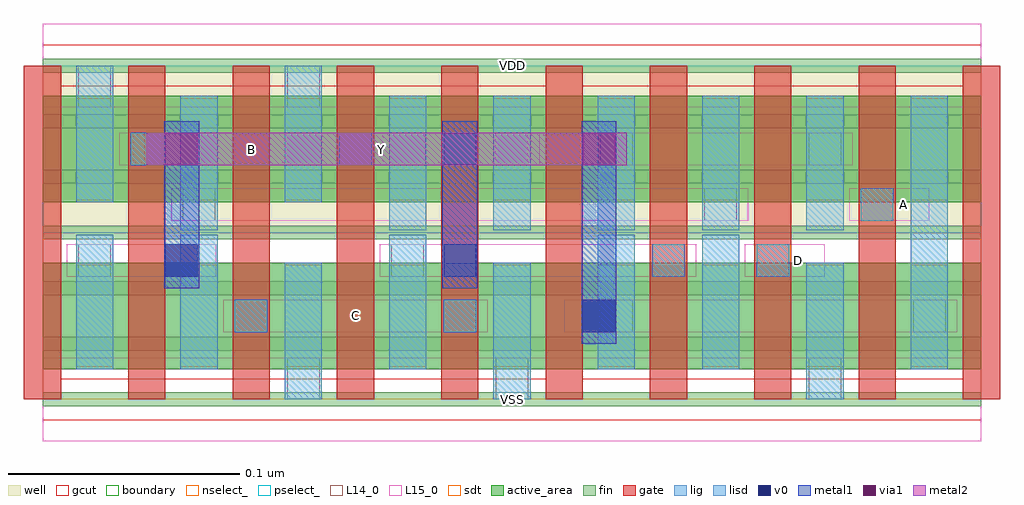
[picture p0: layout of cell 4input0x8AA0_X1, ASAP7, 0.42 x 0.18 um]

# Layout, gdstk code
import gdstk
lib = gdstk.Library(unit=1e-6, precision=2.5e-10)
def R(c, l, rs):  # rectangles x0, y0, x1, y1
    for r in rs: c.add(gdstk.rectangle(r[:2], r[2:], *l))
def A(c, l, x, y, w, h, nx, ny, dx, dy):  # array of equal rectangles
    R(c, l, [(x+i*dx, y+j*dy, x+i*dx+w, y+j*dy+h) for i in range(nx) for j in range(ny)])
def P(c, l, *ps):  # polygons
    for p in ps: c.add(gdstk.Polygon(p, *l))
well = (1, 0)
fin = (2, 0)
gate = (7, 0)
gcut = (10, 0)
active_area = (11, 0)
nselect_ = (12, 0)
pselect_ = (13, 0)
L14_0 = (14, 0)
L15_0 = (15, 0)
lig = (16, 0)
lisd = (17, 0)
v0 = (18, 0)
metal1 = (19, 0)
metal2 = (20, 0)
via1 = (21, 0)
sdt = (88, 0)
boundary = (100, 0)

c_4input0x8aa0_x1 = lib.new_cell('4input0x8AA0_X1')
R(c_4input0x8aa0_x1, well, [(0,0.072,0.405,0.144)])
A(c_4input0x8aa0_x1, fin, 0, -0.003, 0.405, 0.006, 1, 7, 0, 0.024)
A(c_4input0x8aa0_x1, gate, -0.008, 0, 0.016, 0.144, 10, 1, 0.045, 0)
P(c_4input0x8aa0_x1, gcut, [(0,-0.009),(0,0),(-0.008,0),(-0.008,0.135),(0.008,0.135),(0.008,0.009),(0.217,0.009),(0.217,0.135),(0.233,0.135),(0.233,0.009),(0.397,0.009),(0.397,0.135),(-0.008,0.135),(-0.008,0.144),(0,0.144),(0,0.153),(0.405,0.153),(0.405,0.144),(0.413,0.144),(0.413,0),(0.405,0),(0.405,-0.009)])
R(c_4input0x8aa0_x1, active_area, [(0,0.013,0.405,0.059), (0,0.085,0.405,0.131)])
R(c_4input0x8aa0_x1, nselect_, [(0,0,0.405,0.072)])
R(c_4input0x8aa0_x1, pselect_, [(0,0.072,0.405,0.144)])
R(c_4input0x8aa0_x1, L14_0, [(0.1055,0,0.1195,0.018), (0.1955,0,0.2095,0.018), (0.3305,0,0.3445,0.018), (0.083,0.029,0.097,0.043), (0.173,0.029,0.187,0.043), (0.2405,0.029,0.2545,0.043), (0.3755,0.029,0.3895,0.043), (0.0155,0.053,0.0295,0.067), (0.1505,0.053,0.1645,0.067), (0.263,0.053,0.277,0.067), (0.308,0.053,0.322,0.067), (0.0605,0.077,0.0745,0.091), (0.2855,0.077,0.2995,0.091), (0.353,0.077,0.367,0.091), (0.038,0.101,0.052,0.115), (0.128,0.101,0.142,0.115), (0.1955,0.101,0.2095,0.115), (0.2405,0.101,0.2545,0.115), (0.3305,0.101,0.3445,0.115), (0.0155,0.126,0.0295,0.144), (0.1055,0.126,0.1195,0.144)])
R(c_4input0x8aa0_x1, L15_0, [(0,-0.018,0.405,0.018), (0.078,0.029,0.192,0.043), (0.225,0.029,0.3945,0.043), (0.0105,0.053,0.075,0.067), (0.1455,0.053,0.282,0.067), (0.303,0.053,0.3375,0.067), (0.0555,0.077,0.3045,0.091), (0.348,0.077,0.3825,0.091), (0.033,0.101,0.147,0.115), (0.165,0.101,0.2145,0.115), (0.2355,0.101,0.3495,0.115), (0,0.126,0.405,0.162)])
R(c_4input0x8aa0_x1, lig, [(0.083,0.029,0.097,0.043), (0.173,0.029,0.187,0.043), (0.263,0.053,0.277,0.067), (0.308,0.053,0.322,0.067), (0.353,0.077,0.367,0.091), (0.038,0.101,0.052,0.115), (0.128,0.101,0.142,0.115)])
A(c_4input0x8aa0_x1, lisd, 0.0595, 0.013, 0.016, 0.058, 3, 1, 0.09, 0)
A(c_4input0x8aa0_x1, lisd, 0.1495, 0.073, 0.016, 0.058, 5, 1, 0.045, 0)
R(c_4input0x8aa0_x1, lisd, [(0.1045,0,0.1205,0.059), (0.1945,0,0.2105,0.059), (0.3295,0,0.3455,0.059), (0.0145,0.013,0.0305,0.071), (0.2845,0.013,0.3005,0.071), (0.3745,0.013,0.3905,0.131), (0.0595,0.073,0.0755,0.131), (0.0145,0.085,0.0305,0.144), (0.1045,0.085,0.1205,0.144)])
R(c_4input0x8aa0_x1, v0, [(0.233,0.029,0.247,0.043), (0.053,0.053,0.067,0.067), (0.173,0.053,0.187,0.067), (0.173,0.101,0.187,0.115)])
R(c_4input0x8aa0_x1, metal1, [(0.2325,0.024,0.2475,0.12), (0.0525,0.048,0.0675,0.12), (0.1725,0.048,0.1875,0.12)])
R(c_4input0x8aa0_x1, metal2, [(0.045,0.101,0.252,0.115)])
R(c_4input0x8aa0_x1, via1, [(0.053,0.101,0.067,0.115), (0.233,0.101,0.247,0.115)])
A(c_4input0x8aa0_x1, sdt, 0.0145, 0.014, 0.016, 0.044, 9, 2, 0.045, 0.072)
R(c_4input0x8aa0_x1, boundary, [(0,0,0.405,0.144)])
c_4input0x8aa0_x1.add(gdstk.Label('A', (0.3713,0.084), layer=15, texttype=251))
c_4input0x8aa0_x1.add(gdstk.Label('VSS', (0.2025,0), layer=15, texttype=251))
c_4input0x8aa0_x1.add(gdstk.Label('VDD', (0.2025,0.144), layer=15, texttype=251))
c_4input0x8aa0_x1.add(gdstk.Label('C', (0.135,0.036), layer=15, texttype=251))
c_4input0x8aa0_x1.add(gdstk.Label('VSS', (0.2025,0), layer=15, texttype=251))
c_4input0x8aa0_x1.add(gdstk.Label('VDD', (0.2025,0.144), layer=15, texttype=251))
c_4input0x8aa0_x1.add(gdstk.Label('B', (0.09,0.108), layer=15, texttype=251))
c_4input0x8aa0_x1.add(gdstk.Label('VSS', (0.2025,0), layer=15, texttype=251))
c_4input0x8aa0_x1.add(gdstk.Label('VDD', (0.2025,0.144), layer=15, texttype=251))
c_4input0x8aa0_x1.add(gdstk.Label('VSS', (0.2025,0), layer=15, texttype=251))
c_4input0x8aa0_x1.add(gdstk.Label('VDD', (0.2025,0.144), layer=15, texttype=251))
c_4input0x8aa0_x1.add(gdstk.Label('D', (0.3262,0.06), layer=15, texttype=251))
c_4input0x8aa0_x1.add(gdstk.Label('VSS', (0.2025,0), layer=15, texttype=251))
c_4input0x8aa0_x1.add(gdstk.Label('VDD', (0.2025,0.144), layer=15, texttype=251))
c_4input0x8aa0_x1.add(gdstk.Label('VSS', (0.2025,0), layer=3, texttype=251))
c_4input0x8aa0_x1.add(gdstk.Label('VSS', (0.2025,0), layer=3, texttype=251))
c_4input0x8aa0_x1.add(gdstk.Label('VSS', (0.2025,0), layer=3, texttype=251))
c_4input0x8aa0_x1.add(gdstk.Label('VSS', (0.2025,0), layer=3, texttype=251))
c_4input0x8aa0_x1.add(gdstk.Label('VSS', (0.2025,0), layer=3, texttype=251))
c_4input0x8aa0_x1.add(gdstk.Label('VDD', (0.2025,0.144), layer=1, texttype=251))
c_4input0x8aa0_x1.add(gdstk.Label('VDD', (0.2025,0.144), layer=1, texttype=251))
c_4input0x8aa0_x1.add(gdstk.Label('VDD', (0.2025,0.144), layer=1, texttype=251))
c_4input0x8aa0_x1.add(gdstk.Label('VDD', (0.2025,0.144), layer=1, texttype=251))
c_4input0x8aa0_x1.add(gdstk.Label('VDD', (0.2025,0.144), layer=1, texttype=251))
c_4input0x8aa0_x1.add(gdstk.Label('Y', (0.1462,0.108), layer=20, texttype=251))

lib.write_gds('4input0x8AA0_X1.gds')
